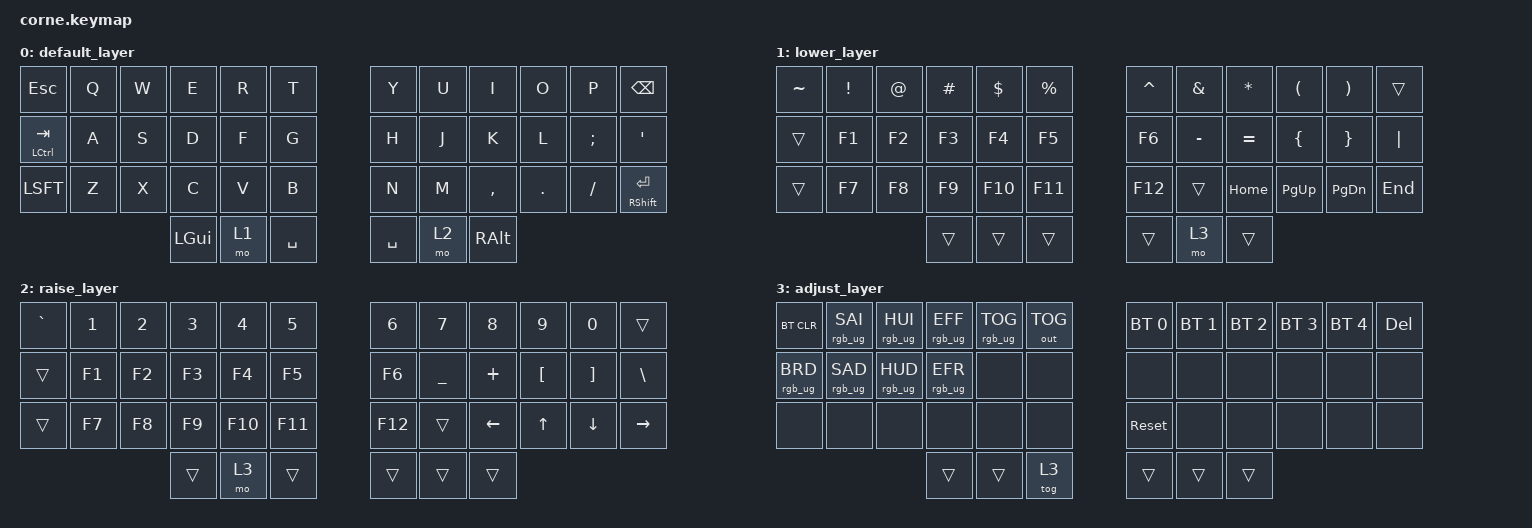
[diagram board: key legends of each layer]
/*
 * Copyright (c) 2020 The ZMK Contributors
 *
 * SPDX-License-Identifier: MIT
 */

#include <behaviors.dtsi>
#include <dt-bindings/zmk/keys.h>
#include <dt-bindings/zmk/bt.h>
#include <dt-bindings/zmk/rgb.h>
#include <dt-bindings/zmk/outputs.h>

/ {
  keymap {
    compatible = "zmk,keymap";

    default_layer {
      bindings = <
&kp ESC       &kp Q &kp W  &kp E     &kp R  &kp T      &kp Y      &kp U  &kp I     &kp O   &kp P    &kp BSPC
&mt LCTRL TAB &kp A &kp S  &kp D     &kp F  &kp G      &kp H      &kp J  &kp K     &kp L   &kp SEMI &kp SQT
&kp LSFT      &kp Z &kp X  &kp C     &kp V  &kp B      &kp N      &kp M  &kp COMMA &kp DOT &kp FSLH &mt RSHFT RET
                           &kp LGUI  &mo 1  &kp SPACE  &kp SPACE  &mo 2  &kp RALT
      >;
    };

    lower_layer {
      bindings = <
&kp TILDE &kp EXCL &kp AT  &kp HASH &kp DLLR  &kp PRCNT  &kp CARET &kp AMPS  &kp STAR  &kp LPAR  &kp RPAR  &trans
&trans    &kp F1   &kp F2  &kp F3   &kp F4    &kp F5     &kp F6    &kp MINUS &kp EQUAL &kp LBRC  &kp RBRC  &kp PIPE
&trans    &kp F7   &kp F8  &kp F9   &kp F10   &kp F11    &kp F12   &trans    &kp HOME  &kp PG_UP &kp PG_DN &kp END
                           &trans   &trans    &trans     &trans    &mo 3     &trans
      >;
    };

    raise_layer {
      bindings = <
&kp GRAVE &kp N1   &kp N2  &kp N3   &kp N4   &kp N5    &kp N6    &kp N7    &kp N8    &kp N9    &kp N0    &trans
&trans    &kp F1   &kp F2  &kp F3   &kp F4   &kp F5    &kp F6    &kp UNDER &kp PLUS  &kp LBKT  &kp RBKT  &kp BSLH
&trans    &kp F7   &kp F8  &kp F9   &kp F10  &kp F11   &kp F12   &trans    &kp LEFT  &kp UP    &kp DOWN  &kp RIGHT
                           &trans   &mo 3    &trans    &trans    &trans    &trans
      >;
    };

    adjust_layer {
      bindings = <
&bt BT_CLR      &rgb_ug RGB_SAI &rgb_ug RGB_HUI &rgb_ug RGB_EFF &rgb_ug RGB_TOG &out OUT_TOG &bt BT_SEL 0 &bt BT_SEL 1 &bt BT_SEL 2 &bt BT_SEL 3 &bt BT_SEL 4 &kp DEL
&rgb_ug RGB_BRD &rgb_ug RGB_SAD &rgb_ug RGB_HUD &rgb_ug RGB_EFR &none           &none        &none        &none        &none        &none        &none        &none
&none           &none           &none           &none           &none           &none        &sys_reset   &none        &none        &none        &none        &none
                                &trans          &trans          &tog 3          &trans       &trans       &trans
      >;
    };
  };
};
